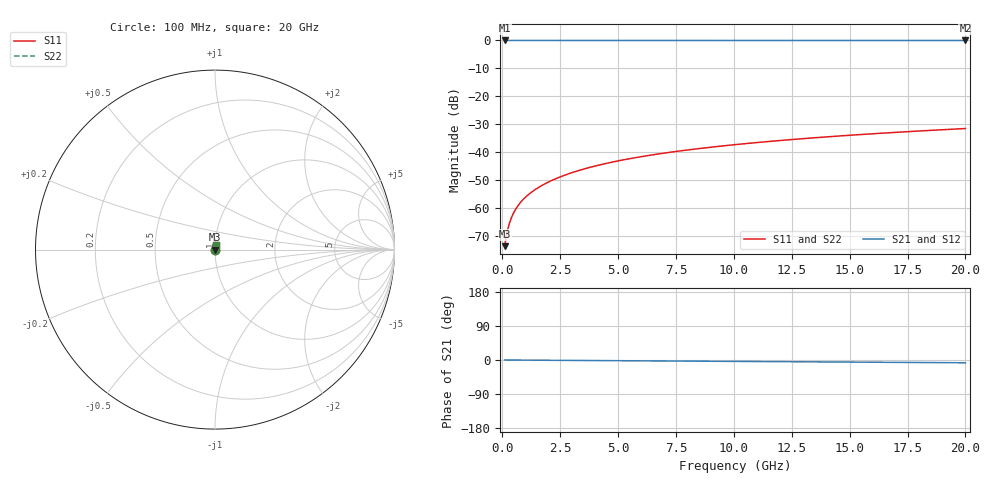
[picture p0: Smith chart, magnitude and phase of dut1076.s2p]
! Touchstone file exported from HFSS 2026.1.0
!  File:  C:/ffzhzh/LocalFiles/Ansys_Project_Files/temp_train_TSV_1076_1783190016_55132.aedt
!  Generated:  02:35:12 AM Jul  5, 2026
!  Design:  TSV
!  Project:  temp_train_TSV_1076_1783190016_55132
! Variables:
!  h_bsmrdl = 2um
!  h_ox = 20um
!  h_rdl = 5um
!  h_sub = 67.99um
!  h_tmrdl = 5um
!  h_tsv = 67.99um
!  h_via = 3um
!  l_bsmrdl = 300um
!  l_sub = 419.34um
!  l_tmrdl = 200um
!  m_sub = 200um
!  pitch = 49.39um
!  r_tsv = 9.67um
!  s_tmrdl = 10um
!  w_bsmrdl = 18um
!  w_sub = 500um
!  w_tmrdl = 12um
!  x_tsv_center1 = 206um
!  x_tsv_center2 = 524um
!  x_tsv_center3 = 736um
!  x_tsv_center4 = 1054um
!  x_tsv_center5 = 1266um
!  x_tsv_center6 = 1584um
# GHz S MA R 50.000000
! Terminal data exported
! Port[1] = TSV1_1_T1
! Port[2] = TSV1_1_T2
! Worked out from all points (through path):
!   200 points, 100 MHz to 20 GHz, reference 50 ohm
!   highest |S21| = 0.00 dB at 100 MHz (marker M1); lowest = 0.0 dB at 20 GHz (marker M2)
!   group delay of S21, straight-line fit = 1.02 ps
!   lowest |S11| = -73.8 dB at 100 MHz (marker M3), VSWR 1.00, Z = 50 + j0.0168 ohm
!   |S11| at or under -10 dB: start of sweep to end of sweep
!   |S22| runs from -73.8 to -31.6 dB; largest |S21 - S12| = 3.2e-15
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0.1  0.0002052 55.2  0.9999 -0.0  0.9999 -0.0  0.0002052 55.2
! Gamma 0 0 0 0
! Port Impedance 50 0 50 0
0.2  0.000358 69.2  0.9999 -0.1  0.9999 -0.1  0.000358 69.2
0.3  0.0005171 74.0  0.9999 -0.1  0.9999 -0.1  0.0005171 74.0
0.4  0.0006744 76.2  0.9998 -0.2  0.9998 -0.2  0.0006744 76.2
0.5  0.000828 77.4  0.9998 -0.2  0.9998 -0.2  0.000828 77.4
0.6  0.0009776 78.1  0.9998 -0.2  0.9998 -0.2  0.0009776 78.1
0.7  0.001124 78.6  0.9998 -0.3  0.9998 -0.3  0.001124 78.6
0.8  0.001267 79.0  0.9998 -0.3  0.9998 -0.3  0.001267 79.0
1  0.001547 79.7  0.9997 -0.4  0.9997 -0.4  0.001547 79.7
1.4  0.002094 80.8  0.9997 -0.5  0.9997 -0.5  0.002094 80.8
1.7  0.002501 81.5  0.9997 -0.6  0.9997 -0.6  0.002501 81.5
2  0.002907 82.0  0.9996 -0.7  0.9996 -0.7  0.002907 82.0
2.7  0.003852 82.8  0.9996 -1.0  0.9996 -1.0  0.003852 82.8
3.5  0.00493 83.2  0.9995 -1.3  0.9995 -1.3  0.00493 83.2
4.2  0.005868 83.4  0.9995 -1.6  0.9995 -1.6  0.005868 83.4
5  0.006934 83.5  0.9994 -1.8  0.9994 -1.8  0.006934 83.5
6.8  0.009311 83.4  0.9993 -2.5  0.9993 -2.5  0.009311 83.4
8.3  0.01128 83.2  0.9992 -3.1  0.9992 -3.1  0.01128 83.2
10.1  0.01362 82.9  0.9991 -3.7  0.9991 -3.7  0.01362 82.9
13.4  0.0179 82.1  0.9989 -4.9  0.9989 -4.9  0.0179 82.1
16.7  0.02215 81.2  0.9987 -6.1  0.9987 -6.1  0.02215 81.2
20  0.02637 80.2  0.9985 -7.3  0.9985 -7.3  0.02637 80.2
